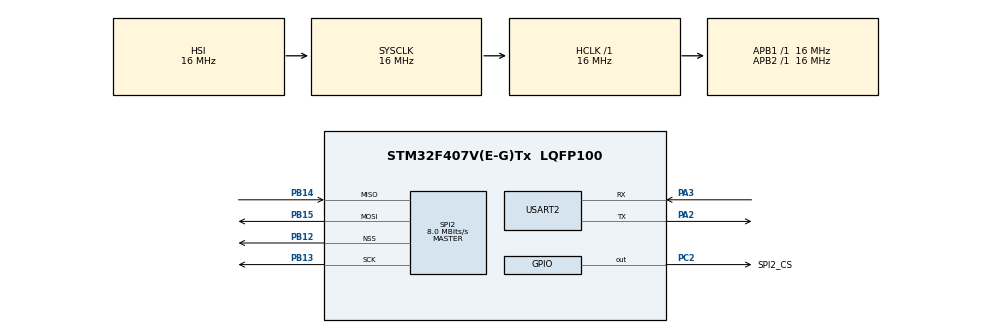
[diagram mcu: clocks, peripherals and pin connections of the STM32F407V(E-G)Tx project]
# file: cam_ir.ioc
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Mcu.Family=STM32F4
Mcu.Name=STM32F407V(E-G)Tx
Mcu.Package=LQFP100
NVIC.PriorityGroup=NVIC_PRIORITYGROUP_4
PA2.Mode=Asynchronous
PA2.Signal=USART2_TX
PA3.Mode=Asynchronous
PA3.Signal=USART2_RX
PB12.Mode=NSS_Signal_Hard_Output
PB12.Signal=SPI2_NSS
PB13.Mode=Full_Duplex_Master
PB13.Signal=SPI2_SCK
PB14.Mode=Full_Duplex_Master
PB14.Signal=SPI2_MISO
PB15.Mode=Full_Duplex_Master
PB15.Signal=SPI2_MOSI
PC2.GPIO_Label=SPI2_CS
PC2.GPIO_Speed=GPIO_SPEED_FREQ_VERY_HIGH
PC2.Signal=GPIO_Output
PD8.Signal=USART3_TX
ProjectManager.HeapSize=0x200
ProjectManager.StackSize=0x400
ProjectManager.TargetToolchain=STM32CubeIDE
RCC.AHBFreq_Value=16000000
RCC.APB1Freq_Value=16000000
RCC.APB2Freq_Value=16000000
RCC.CortexFreq_Value=16000000
RCC.HSE_VALUE=25000000
RCC.HSI_VALUE=16000000
RCC.LSE_VALUE=32768
RCC.SYSCLKFreq_VALUE=16000000
RCC.VCOOutputFreq_Value=192000000
SPI2.CLKPhase=SPI_PHASE_2EDGE
SPI2.CLKPolarity=SPI_POLARITY_HIGH
SPI2.CalculateBaudRate=8.0 MBits/s
SPI2.Direction=SPI_DIRECTION_2LINES
SPI2.Mode=SPI_MODE_MASTER
SPI2.VirtualNSS=VM_NSSHARD
SPI2.VirtualType=VM_MASTER
USART2.VirtualMode=VM_ASYNC
board=custom

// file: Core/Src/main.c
/* USER CODE BEGIN Header */
/**
  ******************************************************************************
  * @file           : main.c
  * @brief          : Main program body
  ******************************************************************************
  * @attention
  *
  * <h2><center>&copy; Copyright (c) 2021 STMicroelectronics.
  * All rights reserved.</center></h2>
  *
  * This software component is licensed by ST under BSD 3-Clause license,
  * the "License"; You may not use this file except in compliance with the
  * License. You may obtain a copy of the License at:
  *                        opensource.org/licenses/BSD-3-Clause
  *
  ******************************************************************************
  */
/* USER CODE END Header */
#include "main.h"

/* USER CODE BEGIN Includes */
#include <stdio.h>
/* USER CODE END Includes */

SPI_HandleTypeDef hspi2;

UART_HandleTypeDef huart2;

/* USER CODE BEGIN PV */
#define VOSPI_FRAME_SIZE 164
int lepton_frame_packet[VOSPI_FRAME_SIZE];
static unsigned int lepton_image[240][80];
/* USER CODE END PV */

void SystemClock_Config(void);
static void MX_GPIO_Init(void);
static void MX_SPI2_Init(void);
static void MX_USART2_UART_Init(void);

/* USER CODE BEGIN 0 */
int transfer(){
	int i=0;
	int frame_number=0;
	uint8_t ret=0;
	char buffer[10]={"\0"};
	uint8_t segmento=0;
	int frame_complete = 0;
	uint8_t send[VOSPI_FRAME_SIZE];
	HAL_UART_Transmit(&huart2, (uint8_t *)"sync\n\r", sizeof("sync\n\r"), 50);
	HAL_GPIO_WritePin(GPIOC, SPI2_CS_Pin, GPIO_PIN_RESET);
	HAL_Delay(186);
	HAL_GPIO_WritePin(GPIOC, SPI2_CS_Pin, GPIO_PIN_SET);
	while(frame_complete==0){

//	for(i=0;i<VOSPI_FRAME_SIZE;i++)
//	{
//		HAL_GPIO_WritePin(GPIOC, SPI2_CS_Pin, GPIO_PIN_RESET);
//		 ret=HAL_SPI_TransmitReceive(&hspi2,send[i],lepton_frame_packet[i],(uint16_t)1, 5);
//		HAL_GPIO_WritePin(GPIOC, SPI2_CS_Pin, GPIO_PIN_SET);
//	}
//		ret=HAL_SPI_Transmit(&hspi2,lepton_frame_packet,VOSPI_FRAME_SIZE, 5);
	HAL_GPIO_WritePin(GPIOC, SPI2_CS_Pin, GPIO_PIN_RESET);
	ret=HAL_SPI_TransmitReceive(&hspi2,send,lepton_frame_packet,VOSPI_FRAME_SIZE, 5);
	HAL_GPIO_WritePin(GPIOC, SPI2_CS_Pin, GPIO_PIN_SET);
	if(ret!=HAL_OK){
	    	sprintf(buffer, " Error %x \n\r", ret);
	    	HAL_UART_Transmit(&huart2, (uint8_t *)buffer, sizeof(buffer), 50);
	    }
	if(((lepton_frame_packet[0]&0xf) != 0x0f)){
		frame_number = lepton_frame_packet[1];
		if( frame_number==20){
				segmento = ((lepton_frame_packet[0] & 0xf0) >> 4) & 0x0f;
				sprintf(buffer, "Segmento %d \n\r", segmento);
		        HAL_UART_Transmit(&huart2, (uint8_t *)buffer, sizeof(buffer), 50);
				}
		if(frame_number < 60 ){
					for(i=0;i<80;i++){
						lepton_image[frame_number][i] = (lepton_frame_packet[2*i+4] << 8 | lepton_frame_packet[2*i+5]);
					}
			}
sprintf(buffer, "frame %d \n\r",frame_number);
      HAL_UART_Transmit(&huart2, (uint8_t *)buffer, sizeof(buffer), 50);
	}
	if(frame_number==59){
		frame_complete =1;
	}
	}
	return segmento;

}

/* USER CODE END 0 */

int main(void)
{

  /* MCU Configuration--------------------------------------------------------*/

  /* Reset of all peripherals, Initializes the Flash interface and the Systick. */
  HAL_Init();

  /* Configure the system clock */
  SystemClock_Config();

  /* Initialize all configured peripherals */
  MX_GPIO_Init();
  MX_SPI2_Init();
  MX_USART2_UART_Init();
  /* USER CODE BEGIN 2 */
  int segmento=0;
  char buffer[20];
  /* USER CODE END 2 */

  /* Infinite loop */
  while (1)
  {

    /* USER CODE BEGIN 3 */
	 HAL_UART_Transmit(&huart2, (uint8_t *)"Transfer:\n\r", sizeof("Transfer: \n\r"), 50);
//	  segmento=transfer();
//	  sprintf(buffer, "segmento %d\n\r", segmento);
//	  HAL_UART_Transmit(&huart2, (uint8_t *)buffer, sizeof(buffer), 50);
	 HAL_Delay(200);

  }
  /* USER CODE END 3 */
}

void SystemClock_Config(void)
{
  RCC_OscInitTypeDef RCC_OscInitStruct = {0};
  RCC_ClkInitTypeDef RCC_ClkInitStruct = {0};

  /** Configure the main internal regulator output voltage
  */
  __HAL_RCC_PWR_CLK_ENABLE();
  __HAL_PWR_VOLTAGESCALING_CONFIG(PWR_REGULATOR_VOLTAGE_SCALE1);
  /** Initializes the RCC Oscillators according to the specified parameters
  * in the RCC_OscInitTypeDef structure.
  */
  RCC_OscInitStruct.OscillatorType = RCC_OSCILLATORTYPE_HSI;
  RCC_OscInitStruct.HSIState = RCC_HSI_ON;
  RCC_OscInitStruct.HSICalibrationValue = RCC_HSICALIBRATION_DEFAULT;
  RCC_OscInitStruct.PLL.PLLState = RCC_PLL_NONE;
  if (HAL_RCC_OscConfig(&RCC_OscInitStruct) != HAL_OK)
  {
    Error_Handler();
  }
  /** Initializes the CPU, AHB and APB buses clocks
  */
  RCC_ClkInitStruct.ClockType = RCC_CLOCKTYPE_HCLK|RCC_CLOCKTYPE_SYSCLK
                              |RCC_CLOCKTYPE_PCLK1|RCC_CLOCKTYPE_PCLK2;
  RCC_ClkInitStruct.SYSCLKSource = RCC_SYSCLKSOURCE_HSI;
  RCC_ClkInitStruct.AHBCLKDivider = RCC_SYSCLK_DIV1;
  RCC_ClkInitStruct.APB1CLKDivider = RCC_HCLK_DIV1;
  RCC_ClkInitStruct.APB2CLKDivider = RCC_HCLK_DIV1;

  if (HAL_RCC_ClockConfig(&RCC_ClkInitStruct, FLASH_LATENCY_0) != HAL_OK)
  {
    Error_Handler();
  }
}

static void MX_SPI2_Init(void)
{

  /* SPI2 parameter configuration*/
  hspi2.Instance = SPI2;
  hspi2.Init.Mode = SPI_MODE_MASTER;
  hspi2.Init.Direction = SPI_DIRECTION_2LINES;
  hspi2.Init.DataSize = SPI_DATASIZE_8BIT;
  hspi2.Init.CLKPolarity = SPI_POLARITY_HIGH;
  hspi2.Init.CLKPhase = SPI_PHASE_2EDGE;
  hspi2.Init.NSS = SPI_NSS_HARD_OUTPUT;
  hspi2.Init.BaudRatePrescaler = SPI_BAUDRATEPRESCALER_2;
  hspi2.Init.FirstBit = SPI_FIRSTBIT_MSB;
  hspi2.Init.TIMode = SPI_TIMODE_DISABLE;
  hspi2.Init.CRCCalculation = SPI_CRCCALCULATION_DISABLE;
  hspi2.Init.CRCPolynomial = 10;
  if (HAL_SPI_Init(&hspi2) != HAL_OK)
  {
    Error_Handler();
  }

}

static void MX_USART2_UART_Init(void)
{

  huart2.Instance = USART2;
  huart2.Init.BaudRate = 115200;
  huart2.Init.WordLength = UART_WORDLENGTH_8B;
  huart2.Init.StopBits = UART_STOPBITS_1;
  huart2.Init.Parity = UART_PARITY_NONE;
  huart2.Init.Mode = UART_MODE_TX_RX;
  huart2.Init.HwFlowCtl = UART_HWCONTROL_NONE;
  huart2.Init.OverSampling = UART_OVERSAMPLING_16;
  if (HAL_UART_Init(&huart2) != HAL_OK)
  {
    Error_Handler();
  }

}

static void MX_GPIO_Init(void)
{
  GPIO_InitTypeDef GPIO_InitStruct = {0};

  /* GPIO Ports Clock Enable */
  __HAL_RCC_GPIOC_CLK_ENABLE();
  __HAL_RCC_GPIOA_CLK_ENABLE();
  __HAL_RCC_GPIOB_CLK_ENABLE();
  __HAL_RCC_GPIOD_CLK_ENABLE();

  /*Configure GPIO pin Output Level */
  HAL_GPIO_WritePin(SPI2_CS_GPIO_Port, SPI2_CS_Pin, GPIO_PIN_RESET);

  /*Configure GPIO pin : SPI2_CS_Pin */
  GPIO_InitStruct.Pin = SPI2_CS_Pin;
  GPIO_InitStruct.Mode = GPIO_MODE_OUTPUT_PP;
  GPIO_InitStruct.Pull = GPIO_NOPULL;
  GPIO_InitStruct.Speed = GPIO_SPEED_FREQ_VERY_HIGH;
  HAL_GPIO_Init(SPI2_CS_GPIO_Port, &GPIO_InitStruct);

  /*Configure GPIO pin : PD8 */
  GPIO_InitStruct.Pin = GPIO_PIN_8;
  GPIO_InitStruct.Mode = GPIO_MODE_AF_PP;
  GPIO_InitStruct.Pull = GPIO_NOPULL;
  GPIO_InitStruct.Speed = GPIO_SPEED_FREQ_VERY_HIGH;
  GPIO_InitStruct.Alternate = GPIO_AF7_USART3;
  HAL_GPIO_Init(GPIOD, &GPIO_InitStruct);

}

void Error_Handler(void)
{
  __disable_irq();
  while (1)
  {
  }
}

/************************ (C) COPYRIGHT STMicroelectronics *****END OF FILE****/
